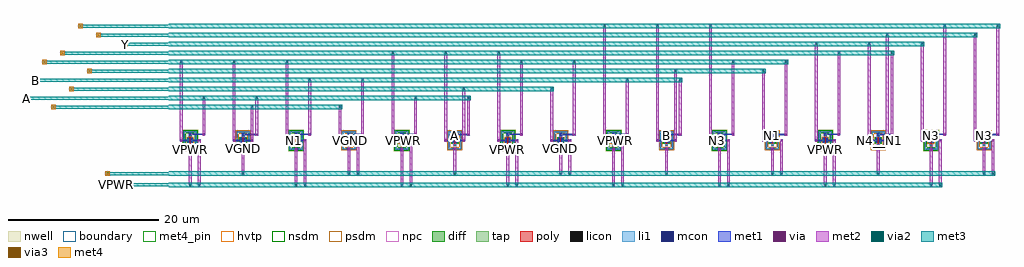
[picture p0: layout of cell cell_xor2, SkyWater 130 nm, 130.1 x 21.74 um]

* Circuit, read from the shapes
.subckt cell_xor2 A B N1 N1__N1 N2 N2__N1 N3 N3__N1 N4__N1 VGND VPWR Y
XM1 N1__N1 A N1 VGND sky130_fd_pr__nfet_01v8 w=0.65 l=0.15
XM2 VGND B N1__N1 VGND sky130_fd_pr__nfet_01v8 w=0.65 l=0.15
XM3 N2__N1 A N2 VGND sky130_fd_pr__nfet_01v8 w=0.65 l=0.15
XM4 VGND N1 N2__N1 VGND sky130_fd_pr__nfet_01v8 w=0.65 l=0.15
XM5 N3__N1 B N3 VGND sky130_fd_pr__nfet_01v8 w=0.65 l=0.15
XM6 VGND N1 N3__N1 VGND sky130_fd_pr__nfet_01v8 w=0.65 l=0.15
XM7 N4__N1 N2 Y VGND sky130_fd_pr__nfet_01v8 w=0.65 l=0.15
XM8 VGND N3 N4__N1 VGND sky130_fd_pr__nfet_01v8 w=0.65 l=0.15
XM9 VPWR A N1 VPWR sky130_fd_pr__pfet_01v8_hvt w=0.65 l=0.15
XM10 VPWR B N1 VPWR sky130_fd_pr__pfet_01v8_hvt w=0.65 l=0.15
XM11 VPWR A N2 VPWR sky130_fd_pr__pfet_01v8_hvt w=0.65 l=0.15
XM12 VPWR N1 N2 VPWR sky130_fd_pr__pfet_01v8_hvt w=0.65 l=0.15
XM13 VPWR B N3 VPWR sky130_fd_pr__pfet_01v8_hvt w=0.65 l=0.15
XM14 VPWR N1 N3 VPWR sky130_fd_pr__pfet_01v8_hvt w=0.65 l=0.15
XM15 VPWR N2 Y VPWR sky130_fd_pr__pfet_01v8_hvt w=0.65 l=0.15
XM16 VPWR N3 Y VPWR sky130_fd_pr__pfet_01v8_hvt w=0.65 l=0.15
.ends

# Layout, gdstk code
import gdstk
lib = gdstk.Library(unit=1e-6, precision=1e-09)
def R(c, l, rs):  # rectangles x0, y0, x1, y1
    for r in rs: c.add(gdstk.rectangle(r[:2], r[2:], *l))
def A(c, l, x, y, w, h, nx, ny, dx, dy):  # array of equal rectangles
    R(c, l, [(x+i*dx, y+j*dy, x+i*dx+w, y+j*dy+h) for i in range(nx) for j in range(ny)])
def P(c, l, *ps):  # polygons
    for p in ps: c.add(gdstk.Polygon(p, *l))
nwell = (64, 20)
diff = (65, 20)
tap = (65, 44)
poly = (66, 20)
licon = (66, 44)
li1 = (67, 20)
mcon = (67, 44)
met1 = (68, 20)
via = (68, 44)
met2 = (69, 20)
via2 = (69, 44)
met3 = (70, 20)
via3 = (70, 44)
met4_pin = (71, 16)
met4 = (71, 20)
hvtp = (78, 44)
nsdm = (93, 44)
psdm = (94, 20)
npc = (95, 20)
boundary = (235, 4)

cell_xor2 = lib.new_cell('cell_xor2')
A(cell_xor2, nwell, 31.4, 14.8, 2.11, 2.84, 8, 1, 14.11, 0)
A(cell_xor2, diff, 32.09, 15.895, 0.73, 0.65, 16, 1, 7.055, 0)
A(cell_xor2, tap, 31.58, 14.98, 1.75, 0.17, 8, 2, 14.11, 2.31)
A(cell_xor2, tap, 38.635, 15.025, 1.75, 0.17, 8, 2, 14.11, 2.22)
R(cell_xor2, tap, [(31.58,15.15,31.75,17.29), (33.16,15.15,33.33,17.29), (45.69,15.15,45.86,17.29), (47.27,15.15,47.44,17.29), (59.8,15.15,59.97,17.29), (61.38,15.15,61.55,17.29), (73.91,15.15,74.08,17.29), (75.49,15.15,75.66,17.29), (88.02,15.15,88.19,17.29), (89.6,15.15,89.77,17.29), (102.13,15.15,102.3,17.29), (103.71,15.15,103.88,17.29), (116.24,15.15,116.41,17.29), (117.82,15.15,117.99,17.29), (130.35,15.15,130.52,17.29), (131.93,15.15,132.1,17.29), (38.635,15.195,38.805,17.245), (40.215,15.195,40.385,17.245), (52.745,15.195,52.915,17.245), (54.325,15.195,54.495,17.245), (66.855,15.195,67.025,17.245), (68.435,15.195,68.605,17.245), (80.965,15.195,81.135,17.245), (82.545,15.195,82.715,17.245), (95.075,15.195,95.245,17.245), (96.655,15.195,96.825,17.245), (109.185,15.195,109.355,17.245), (110.765,15.195,110.935,17.245), (123.295,15.195,123.465,17.245), (124.875,15.195,125.045,17.245), (137.405,15.195,137.575,17.245), (138.985,15.195,139.155,17.245)])
A(cell_xor2, poly, 32.29, 15.41, 0.33, 0.33, 8, 2, 14.11, 1.29)
A(cell_xor2, poly, 39.345, 15.455, 0.33, 0.33, 8, 2, 14.11, 1.2)
A(cell_xor2, poly, 32.38, 15.74, 0.15, 0.96, 8, 1, 14.11, 0)
A(cell_xor2, poly, 39.435, 15.785, 0.15, 0.87, 8, 1, 14.11, 0)
A(cell_xor2, licon, 32.37, 15.49, 0.17, 0.17, 8, 2, 14.11, 1.29)
A(cell_xor2, licon, 39.425, 15.535, 0.17, 0.17, 8, 2, 14.11, 1.2)
A(cell_xor2, licon, 31.58, 15.625, 0.17, 0.17, 1, 4, 0, 0.34)
A(cell_xor2, licon, 33.16, 15.625, 0.17, 0.17, 1, 4, 0, 0.34)
A(cell_xor2, licon, 38.635, 15.625, 0.17, 0.17, 1, 4, 0, 0.34)
A(cell_xor2, licon, 40.215, 15.625, 0.17, 0.17, 1, 4, 0, 0.34)
A(cell_xor2, licon, 45.69, 15.625, 0.17, 0.17, 1, 4, 0, 0.34)
A(cell_xor2, licon, 47.27, 15.625, 0.17, 0.17, 1, 4, 0, 0.34)
A(cell_xor2, licon, 52.745, 15.625, 0.17, 0.17, 1, 4, 0, 0.34)
A(cell_xor2, licon, 54.325, 15.625, 0.17, 0.17, 1, 4, 0, 0.34)
A(cell_xor2, licon, 59.8, 15.625, 0.17, 0.17, 1, 4, 0, 0.34)
A(cell_xor2, licon, 61.38, 15.625, 0.17, 0.17, 1, 4, 0, 0.34)
A(cell_xor2, licon, 66.855, 15.625, 0.17, 0.17, 1, 4, 0, 0.34)
A(cell_xor2, licon, 68.435, 15.625, 0.17, 0.17, 1, 4, 0, 0.34)
A(cell_xor2, licon, 73.91, 15.625, 0.17, 0.17, 1, 4, 0, 0.34)
A(cell_xor2, licon, 75.49, 15.625, 0.17, 0.17, 1, 4, 0, 0.34)
A(cell_xor2, licon, 80.965, 15.625, 0.17, 0.17, 1, 4, 0, 0.34)
A(cell_xor2, licon, 82.545, 15.625, 0.17, 0.17, 1, 4, 0, 0.34)
A(cell_xor2, licon, 88.02, 15.625, 0.17, 0.17, 1, 4, 0, 0.34)
A(cell_xor2, licon, 89.6, 15.625, 0.17, 0.17, 1, 4, 0, 0.34)
A(cell_xor2, licon, 95.075, 15.625, 0.17, 0.17, 1, 4, 0, 0.34)
A(cell_xor2, licon, 96.655, 15.625, 0.17, 0.17, 1, 4, 0, 0.34)
A(cell_xor2, licon, 102.13, 15.625, 0.17, 0.17, 1, 4, 0, 0.34)
A(cell_xor2, licon, 103.71, 15.625, 0.17, 0.17, 1, 4, 0, 0.34)
A(cell_xor2, licon, 109.185, 15.625, 0.17, 0.17, 1, 4, 0, 0.34)
A(cell_xor2, licon, 110.765, 15.625, 0.17, 0.17, 1, 4, 0, 0.34)
A(cell_xor2, licon, 116.24, 15.625, 0.17, 0.17, 1, 4, 0, 0.34)
A(cell_xor2, licon, 117.82, 15.625, 0.17, 0.17, 1, 4, 0, 0.34)
A(cell_xor2, licon, 123.295, 15.625, 0.17, 0.17, 1, 4, 0, 0.34)
A(cell_xor2, licon, 124.875, 15.625, 0.17, 0.17, 1, 4, 0, 0.34)
A(cell_xor2, licon, 130.35, 15.625, 0.17, 0.17, 1, 4, 0, 0.34)
A(cell_xor2, licon, 131.93, 15.625, 0.17, 0.17, 1, 4, 0, 0.34)
A(cell_xor2, licon, 137.405, 15.625, 0.17, 0.17, 1, 4, 0, 0.34)
A(cell_xor2, licon, 138.985, 15.625, 0.17, 0.17, 1, 4, 0, 0.34)
R(cell_xor2, licon, [(32.2,14.98,32.37,15.15), (32.54,14.98,32.71,15.15), (46.31,14.98,46.48,15.15), (46.65,14.98,46.82,15.15), (60.42,14.98,60.59,15.15), (60.76,14.98,60.93,15.15), (74.53,14.98,74.7,15.15), (74.87,14.98,75.04,15.15), (88.64,14.98,88.81,15.15), (88.98,14.98,89.15,15.15), (102.75,14.98,102.92,15.15), (103.09,14.98,103.26,15.15), (116.86,14.98,117.03,15.15), (117.2,14.98,117.37,15.15), (130.97,14.98,131.14,15.15), (131.31,14.98,131.48,15.15), (39.255,15.025,39.425,15.195), (39.595,15.025,39.765,15.195), (53.365,15.025,53.535,15.195), (53.705,15.025,53.875,15.195), (67.475,15.025,67.645,15.195), (67.815,15.025,67.985,15.195), (81.585,15.025,81.755,15.195), (81.925,15.025,82.095,15.195), (95.695,15.025,95.865,15.195), (96.035,15.025,96.205,15.195), (109.805,15.025,109.975,15.195), (110.145,15.025,110.315,15.195), (123.915,15.025,124.085,15.195), (124.255,15.025,124.425,15.195), (138.025,15.025,138.195,15.195), (138.365,15.025,138.535,15.195), (32.15,15.965,32.32,16.135), (32.59,15.965,32.76,16.135), (39.205,15.965,39.375,16.135), (39.645,15.965,39.815,16.135), (46.26,15.965,46.43,16.135), (46.7,15.965,46.87,16.135), (53.315,15.965,53.485,16.135), (53.755,15.965,53.925,16.135), (60.37,15.965,60.54,16.135), (60.81,15.965,60.98,16.135), (67.425,15.965,67.595,16.135), (67.865,15.965,68.035,16.135), (74.48,15.965,74.65,16.135), (74.92,15.965,75.09,16.135), (81.535,15.965,81.705,16.135), (81.975,15.965,82.145,16.135), (88.59,15.965,88.76,16.135), (89.03,15.965,89.2,16.135), (95.645,15.965,95.815,16.135), (96.085,15.965,96.255,16.135), (102.7,15.965,102.87,16.135), (103.14,15.965,103.31,16.135), (109.755,15.965,109.925,16.135), (110.195,15.965,110.365,16.135), (116.81,15.965,116.98,16.135), (117.25,15.965,117.42,16.135), (123.865,15.965,124.035,16.135), (124.305,15.965,124.475,16.135), (130.92,15.965,131.09,16.135), (131.36,15.965,131.53,16.135), (137.975,15.965,138.145,16.135), (138.415,15.965,138.585,16.135), (32.15,16.305,32.32,16.475), (32.59,16.305,32.76,16.475), (39.205,16.305,39.375,16.475), (39.645,16.305,39.815,16.475), (46.26,16.305,46.43,16.475), (46.7,16.305,46.87,16.475), (53.315,16.305,53.485,16.475), (53.755,16.305,53.925,16.475), (60.37,16.305,60.54,16.475), (60.81,16.305,60.98,16.475), (67.425,16.305,67.595,16.475), (67.865,16.305,68.035,16.475), (74.48,16.305,74.65,16.475), (74.92,16.305,75.09,16.475), (81.535,16.305,81.705,16.475), (81.975,16.305,82.145,16.475), (88.59,16.305,88.76,16.475), (89.03,16.305,89.2,16.475), (95.645,16.305,95.815,16.475), (96.085,16.305,96.255,16.475), (102.7,16.305,102.87,16.475), (103.14,16.305,103.31,16.475), (109.755,16.305,109.925,16.475), (110.195,16.305,110.365,16.475), (116.81,16.305,116.98,16.475), (117.25,16.305,117.42,16.475), (123.865,16.305,124.035,16.475), (124.305,16.305,124.475,16.475), (130.92,16.305,131.09,16.475), (131.36,16.305,131.53,16.475), (137.975,16.305,138.145,16.475), (138.415,16.305,138.585,16.475), (39.255,17.245,39.425,17.415), (39.595,17.245,39.765,17.415), (53.365,17.245,53.535,17.415), (53.705,17.245,53.875,17.415), (67.475,17.245,67.645,17.415), (67.815,17.245,67.985,17.415), (81.585,17.245,81.755,17.415), (81.925,17.245,82.095,17.415), (95.695,17.245,95.865,17.415), (96.035,17.245,96.205,17.415), (109.805,17.245,109.975,17.415), (110.145,17.245,110.315,17.415), (123.915,17.245,124.085,17.415), (124.255,17.245,124.425,17.415), (138.025,17.245,138.195,17.415), (138.365,17.245,138.535,17.415), (32.2,17.29,32.37,17.46), (32.54,17.29,32.71,17.46), (46.31,17.29,46.48,17.46), (46.65,17.29,46.82,17.46), (60.42,17.29,60.59,17.46), (60.76,17.29,60.93,17.46), (74.53,17.29,74.7,17.46), (74.87,17.29,75.04,17.46), (88.64,17.29,88.81,17.46), (88.98,17.29,89.15,17.46), (102.75,17.29,102.92,17.46), (103.09,17.29,103.26,17.46), (116.86,17.29,117.03,17.46), (117.2,17.29,117.37,17.46), (130.97,17.29,131.14,17.46), (131.31,17.29,131.48,17.46)])
A(cell_xor2, li1, 31.58, 14.98, 1.75, 0.17, 8, 2, 14.11, 2.31)
A(cell_xor2, li1, 38.635, 15.025, 1.75, 0.17, 8, 2, 14.11, 2.22)
A(cell_xor2, li1, 32.29, 15.49, 0.33, 0.17, 8, 2, 14.11, 1.29)
A(cell_xor2, li1, 39.345, 15.535, 0.33, 0.17, 8, 2, 14.11, 1.2)
A(cell_xor2, li1, 39.425, 16.735, 0.17, 0.34, 8, 1, 14.11, 0)
A(cell_xor2, li1, 32.37, 16.78, 0.17, 0.34, 8, 1, 14.11, 0)
R(cell_xor2, li1, [(31.58,15.15,31.75,17.29), (33.16,15.15,33.33,17.29), (45.69,15.15,45.86,17.29), (47.27,15.15,47.44,17.29), (59.8,15.15,59.97,17.29), (61.38,15.15,61.55,17.29), (73.91,15.15,74.08,17.29), (75.49,15.15,75.66,17.29), (88.02,15.15,88.19,17.29), (89.6,15.15,89.77,17.29), (102.13,15.15,102.3,17.29), (103.71,15.15,103.88,17.29), (116.24,15.15,116.41,17.29), (117.82,15.15,117.99,17.29), (130.35,15.15,130.52,17.29), (131.93,15.15,132.1,17.29), (38.635,15.195,38.805,17.245), (40.215,15.195,40.385,17.245), (52.745,15.195,52.915,17.245), (54.325,15.195,54.495,17.245), (66.855,15.195,67.025,17.245), (68.435,15.195,68.605,17.245), (80.965,15.195,81.135,17.245), (82.545,15.195,82.715,17.245), (95.075,15.195,95.245,17.245), (96.655,15.195,96.825,17.245), (109.185,15.195,109.355,17.245), (110.765,15.195,110.935,17.245), (123.295,15.195,123.465,17.245), (124.875,15.195,125.045,17.245), (137.405,15.195,137.575,17.245), (138.985,15.195,139.155,17.245), (32.15,15.875,32.32,16.565), (32.59,15.875,32.76,16.565), (39.205,15.875,39.375,16.565), (39.645,15.875,39.815,16.565), (46.26,15.875,46.43,16.565), (46.7,15.875,46.87,16.565), (53.315,15.875,53.485,16.565), (53.755,15.875,53.925,16.565), (60.37,15.875,60.54,16.565), (60.81,15.875,60.98,16.565), (67.425,15.875,67.595,16.565), (67.865,15.875,68.035,16.565), (74.48,15.875,74.65,16.565), (74.92,15.875,75.09,16.565), (81.535,15.875,81.705,16.565), (81.975,15.875,82.145,16.565), (88.59,15.875,88.76,16.565), (89.03,15.875,89.2,16.565), (95.645,15.875,95.815,16.565), (96.085,15.875,96.255,16.565), (102.7,15.875,102.87,16.565), (103.14,15.875,103.31,16.565), (109.755,15.875,109.925,16.565), (110.195,15.875,110.365,16.565), (116.81,15.875,116.98,16.565), (117.25,15.875,117.42,16.565), (123.865,15.875,124.035,16.565), (124.305,15.875,124.475,16.565), (130.92,15.875,131.09,16.565), (131.36,15.875,131.53,16.565), (137.975,15.875,138.145,16.565), (138.415,15.875,138.585,16.565)])
A(cell_xor2, mcon, 32.37, 14.98, 0.17, 0.17, 8, 2, 14.11, 1.97)
A(cell_xor2, mcon, 39.425, 15.025, 0.17, 0.17, 8, 2, 14.11, 1.88)
R(cell_xor2, mcon, [(32.15,15.955,32.32,16.125), (32.59,15.955,32.76,16.125), (39.205,15.955,39.375,16.125), (39.645,15.955,39.815,16.125), (46.26,15.955,46.43,16.125), (46.7,15.955,46.87,16.125), (53.315,15.955,53.485,16.125), (53.755,15.955,53.925,16.125), (60.37,15.955,60.54,16.125), (60.81,15.955,60.98,16.125), (67.425,15.955,67.595,16.125), (67.865,15.955,68.035,16.125), (74.48,15.955,74.65,16.125), (74.92,15.955,75.09,16.125), (81.535,15.955,81.705,16.125), (81.975,15.955,82.145,16.125), (88.59,15.955,88.76,16.125), (89.03,15.955,89.2,16.125), (95.645,15.955,95.815,16.125), (96.085,15.955,96.255,16.125), (102.7,15.955,102.87,16.125), (103.14,15.955,103.31,16.125), (109.755,15.955,109.925,16.125), (110.195,15.955,110.365,16.125), (116.81,15.955,116.98,16.125), (117.25,15.955,117.42,16.125), (123.865,15.955,124.035,16.125), (124.305,15.955,124.475,16.125), (130.92,15.955,131.09,16.125), (131.36,15.955,131.53,16.125), (137.975,15.955,138.145,16.125), (138.415,15.955,138.585,16.125), (32.15,16.315,32.32,16.485), (32.59,16.315,32.76,16.485), (39.205,16.315,39.375,16.485), (39.645,16.315,39.815,16.485), (46.26,16.315,46.43,16.485), (46.7,16.315,46.87,16.485), (53.315,16.315,53.485,16.485), (53.755,16.315,53.925,16.485), (60.37,16.315,60.54,16.485), (60.81,16.315,60.98,16.485), (67.425,16.315,67.595,16.485), (67.865,16.315,68.035,16.485), (74.48,16.315,74.65,16.485), (74.92,16.315,75.09,16.485), (81.535,16.315,81.705,16.485), (81.975,16.315,82.145,16.485), (88.59,16.315,88.76,16.485), (89.03,16.315,89.2,16.485), (95.645,16.315,95.815,16.485), (96.085,16.315,96.255,16.485), (102.7,16.315,102.87,16.485), (103.14,16.315,103.31,16.485), (109.755,16.315,109.925,16.485), (110.195,16.315,110.365,16.485), (116.81,16.315,116.98,16.485), (117.25,16.315,117.42,16.485), (123.865,16.315,124.035,16.485), (124.305,16.315,124.475,16.485), (130.92,16.315,131.09,16.485), (131.36,16.315,131.53,16.485), (137.975,16.315,138.145,16.485), (138.415,16.315,138.585,16.485)])
A(cell_xor2, met1, 32.255, 14.865, 0.4, 0.4, 8, 2, 14.11, 1.97)
A(cell_xor2, met1, 39.31, 14.91, 0.4, 0.4, 8, 2, 14.11, 1.88)
A(cell_xor2, met1, 32.275, 14.935, 0.36, 0.26, 8, 1, 14.11, 0)
A(cell_xor2, met1, 39.33, 14.98, 0.36, 0.26, 8, 1, 14.11, 0)
A(cell_xor2, met1, 41.15, 16.86, 0.36, 0.26, 8, 1, 14.11, 0)
A(cell_xor2, met1, 34.095, 16.905, 0.36, 0.26, 8, 1, 14.11, 0)
A(cell_xor2, met1, 39.51, 16.905, 1.82, 0.17, 8, 1, 14.11, 0)
A(cell_xor2, met1, 32.455, 16.95, 1.82, 0.17, 8, 1, 14.11, 0)
R(cell_xor2, met1, [(32.12,15.895,32.35,16.545), (32.56,15.895,32.79,16.545), (39.175,15.895,39.405,16.545), (39.615,15.895,39.845,16.545), (46.23,15.895,46.46,16.545), (46.67,15.895,46.9,16.545), (53.285,15.895,53.515,16.545), (53.725,15.895,53.955,16.545), (60.34,15.895,60.57,16.545), (60.78,15.895,61.01,16.545), (67.395,15.895,67.625,16.545), (67.835,15.895,68.065,16.545), (74.45,15.895,74.68,16.545), (74.89,15.895,75.12,16.545), (81.505,15.895,81.735,16.545), (81.945,15.895,82.175,16.545), (88.56,15.895,88.79,16.545), (89,15.895,89.23,16.545), (95.615,15.895,95.845,16.545), (96.055,15.895,96.285,16.545), (102.67,15.895,102.9,16.545), (103.11,15.895,103.34,16.545), (109.725,15.895,109.955,16.545), (110.165,15.895,110.395,16.545), (116.78,15.895,117.01,16.545), (117.22,15.895,117.45,16.545), (123.835,15.895,124.065,16.545), (124.275,15.895,124.505,16.545), (130.89,15.895,131.12,16.545), (131.33,15.895,131.56,16.545), (137.945,15.895,138.175,16.545), (138.385,15.895,138.615,16.545), (31.075,16.09,31.435,16.35), (33.475,16.09,33.835,16.35), (38.13,16.09,38.49,16.35), (40.53,16.09,40.89,16.35), (45.185,16.09,45.545,16.35), (47.585,16.09,47.945,16.35), (52.24,16.09,52.6,16.35), (54.64,16.09,55,16.35), (59.295,16.09,59.655,16.35), (61.695,16.09,62.055,16.35), (66.35,16.09,66.71,16.35), (68.75,16.09,69.11,16.35), (73.405,16.09,73.765,16.35), (75.805,16.09,76.165,16.35), (80.46,16.09,80.82,16.35), (82.86,16.09,83.22,16.35), (87.515,16.09,87.875,16.35), (89.915,16.09,90.275,16.35), (94.57,16.09,94.93,16.35), (96.97,16.09,97.33,16.35), (101.625,16.09,101.985,16.35), (104.025,16.09,104.385,16.35), (108.68,16.09,109.04,16.35), (111.08,16.09,111.44,16.35), (115.735,16.09,116.095,16.35), (118.135,16.09,118.495,16.35), (122.79,16.09,123.15,16.35), (125.19,16.09,125.55,16.35), (129.845,16.09,130.205,16.35), (132.245,16.09,132.605,16.35), (136.9,16.09,137.26,16.35), (139.3,16.09,139.66,16.35), (31.255,16.135,32.235,16.305), (32.675,16.135,33.655,16.305), (38.31,16.135,39.29,16.305), (39.73,16.135,40.71,16.305), (45.365,16.135,46.345,16.305), (46.785,16.135,47.765,16.305), (52.42,16.135,53.4,16.305), (53.84,16.135,54.82,16.305), (59.475,16.135,60.455,16.305), (60.895,16.135,61.875,16.305), (66.53,16.135,67.51,16.305), (67.95,16.135,68.93,16.305), (73.585,16.135,74.565,16.305), (75.005,16.135,75.985,16.305), (80.64,16.135,81.62,16.305), (82.06,16.135,83.04,16.305), (87.695,16.135,88.675,16.305), (89.115,16.135,90.095,16.305), (94.75,16.135,95.73,16.305), (96.17,16.135,97.15,16.305), (101.805,16.135,102.785,16.305), (103.225,16.135,104.205,16.305), (108.86,16.135,109.84,16.305), (110.28,16.135,111.26,16.305), (115.915,16.135,116.895,16.305), (117.335,16.135,118.315,16.305), (122.97,16.135,123.95,16.305), (124.39,16.135,125.37,16.305), (130.025,16.135,131.005,16.305), (131.445,16.135,132.425,16.305), (137.08,16.135,138.06,16.305), (138.5,16.135,139.48,16.305)])
P(cell_xor2, met1, [(124.17,15.025),(124.17,15.195),(124.17,15.195),(124.17,15.025)],
  [(88.895,14.98),(88.895,15.15),(88.895,15.15),(88.895,14.98)],
  [(95.95,15.025),(95.95,15.195),(95.95,15.195),(95.95,15.025)],
  [(103.005,14.98),(103.005,15.15),(103.005,15.15),(103.005,14.98)],
  [(110.06,15.025),(110.06,15.195),(110.06,15.195),(110.06,15.025)],
  [(117.115,14.98),(117.115,15.15),(117.115,15.15),(117.115,14.98)],
  [(131.225,14.98),(131.225,15.15),(131.225,15.15),(131.225,14.98)],
  [(138.28,15.025),(138.28,15.195),(138.28,15.195),(138.28,15.025)],
  [(81.84,15.025),(81.84,15.195),(81.84,15.195),(81.84,15.025)],
  [(60.675,14.98),(60.675,15.15),(60.675,15.15),(60.675,14.98)],
  [(67.73,15.025),(67.73,15.195),(67.73,15.195),(67.73,15.025)],
  [(32.455,14.98),(32.455,15.15),(32.455,15.15),(32.455,14.98)],
  [(39.51,15.025),(39.51,15.195),(39.51,15.195),(39.51,15.025)],
  [(46.565,14.98),(46.565,15.15),(46.565,15.15),(46.565,14.98)],
  [(53.62,15.025),(53.62,15.195),(53.62,15.195),(53.62,15.025)],
  [(74.785,14.98),(74.785,15.15),(74.785,15.15),(74.785,14.98)])
A(cell_xor2, via, 32.38, 14.99, 0.15, 0.15, 8, 1, 14.11, 0)
A(cell_xor2, via, 39.435, 15.035, 0.15, 0.15, 8, 1, 14.11, 0)
A(cell_xor2, via, 41.255, 16.915, 0.15, 0.15, 8, 1, 14.11, 0)
A(cell_xor2, via, 34.2, 16.96, 0.15, 0.15, 8, 1, 14.11, 0)
R(cell_xor2, via, [(31.18,16.145,31.33,16.295), (33.58,16.145,33.73,16.295), (38.235,16.145,38.385,16.295), (40.635,16.145,40.785,16.295), (45.29,16.145,45.44,16.295), (47.69,16.145,47.84,16.295), (52.345,16.145,52.495,16.295), (54.745,16.145,54.895,16.295), (59.4,16.145,59.55,16.295), (61.8,16.145,61.95,16.295), (66.455,16.145,66.605,16.295), (68.855,16.145,69.005,16.295), (73.51,16.145,73.66,16.295), (75.91,16.145,76.06,16.295), (80.565,16.145,80.715,16.295), (82.965,16.145,83.115,16.295), (87.62,16.145,87.77,16.295), (90.02,16.145,90.17,16.295), (94.675,16.145,94.825,16.295), (97.075,16.145,97.225,16.295), (101.73,16.145,101.88,16.295), (104.13,16.145,104.28,16.295), (108.785,16.145,108.935,16.295), (111.185,16.145,111.335,16.295), (115.84,16.145,115.99,16.295), (118.24,16.145,118.39,16.295), (122.895,16.145,123.045,16.295), (125.295,16.145,125.445,16.295), (129.95,16.145,130.1,16.295), (132.35,16.145,132.5,16.295), (137.005,16.145,137.155,16.295), (139.405,16.145,139.555,16.295)])
A(cell_xor2, met2, 32.275, 10.3, 0.36, 4.765, 8, 1, 14.11, 0)
A(cell_xor2, met2, 33.475, 10.3, 0.36, 5.92, 8, 1, 14.11, 0)
A(cell_xor2, met2, 39.33, 11.8, 0.36, 3.31, 8, 1, 14.11, 0)
A(cell_xor2, met2, 54.64, 11.8, 0.36, 4.42, 4, 1, 28.22, 0)
A(cell_xor2, met2, 32.325, 14.885, 0.26, 0.36, 8, 1, 14.11, 0)
A(cell_xor2, met2, 39.38, 14.93, 0.26, 0.36, 8, 1, 14.11, 0)
A(cell_xor2, met2, 31.075, 16.22, 0.36, 10.42, 3, 1, 7.055, 0)
A(cell_xor2, met2, 59.295, 16.22, 0.36, 11.62, 3, 1, 7.055, 0)
A(cell_xor2, met2, 87.515, 16.22, 0.36, 15.22, 3, 1, 7.055, 0)
A(cell_xor2, met2, 115.735, 16.22, 0.36, 12.82, 3, 1, 7.055, 0)
A(cell_xor2, met2, 41.2, 16.81, 0.26, 0.36, 8, 1, 14.11, 0)
A(cell_xor2, met2, 34.145, 16.855, 0.26, 0.36, 8, 1, 14.11, 0)
A(cell_xor2, met2, 31.115, 26.45, 0.28, 0.38, 3, 1, 7.055, 0)
A(cell_xor2, met2, 59.335, 27.65, 0.28, 0.38, 3, 1, 7.055, 0)
A(cell_xor2, met2, 115.775, 28.85, 0.28, 0.38, 3, 1, 7.055, 0)
A(cell_xor2, met2, 87.555, 31.25, 0.28, 0.38, 3, 1, 7.055, 0)
R(cell_xor2, met2, [(32.315,10.11,32.595,10.49), (33.515,10.11,33.795,10.49), (46.425,10.11,46.705,10.49), (47.625,10.11,47.905,10.49), (60.535,10.11,60.815,10.49), (61.735,10.11,62.015,10.49), (74.645,10.11,74.925,10.49), (75.845,10.11,76.125,10.49), (88.755,10.11,89.035,10.49), (89.955,10.11,90.235,10.49), (102.865,10.11,103.145,10.49), (104.065,10.11,104.345,10.49), (116.975,10.11,117.255,10.49), (118.175,10.11,118.455,10.49), (131.085,10.11,131.365,10.49), (132.285,10.11,132.565,10.49), (39.37,11.61,39.65,11.99), (53.48,11.61,53.76,11.99), (54.68,11.61,54.96,11.99), (67.59,11.61,67.87,11.99), (81.7,11.61,81.98,11.99), (82.9,11.61,83.18,11.99), (95.81,11.61,96.09,11.99), (109.92,11.61,110.2,11.99), (111.12,11.61,111.4,11.99), (124.03,11.61,124.31,11.99), (138.14,11.61,138.42,11.99), (139.34,11.61,139.62,11.99), (31.125,16.04,31.385,16.4), (33.525,16.04,33.785,16.4), (38.18,16.04,38.44,16.4), (40.58,16.04,40.84,16.4), (45.235,16.04,45.495,16.4), (47.635,16.04,47.895,16.4), (52.29,16.04,52.55,16.4), (54.69,16.04,54.95,16.4), (59.345,16.04,59.605,16.4), (61.745,16.04,62.005,16.4), (66.4,16.04,66.66,16.4), (68.8,16.04,69.06,16.4), (73.455,16.04,73.715,16.4), (75.855,16.04,76.115,16.4), (80.51,16.04,80.77,16.4), (82.91,16.04,83.17,16.4), (87.565,16.04,87.825,16.4), (89.965,16.04,90.225,16.4), (94.62,16.04,94.88,16.4), (97.02,16.04,97.28,16.4), (101.675,16.04,101.935,16.4), (104.075,16.04,104.335,16.4), (108.73,16.04,108.99,16.4), (111.13,16.04,111.39,16.4), (115.785,16.04,116.045,16.4), (118.185,16.04,118.445,16.4), (122.84,16.04,123.1,16.4), (125.24,16.04,125.5,16.4), (129.895,16.04,130.155,16.4), (132.295,16.04,132.555,16.4), (136.95,16.04,137.21,16.4), (139.35,16.04,139.61,16.4), (40.53,16.22,40.89,20.64), (52.24,16.22,52.6,20.64), (68.75,16.22,69.11,23.04), (80.46,16.22,80.82,23.04), (96.97,16.22,97.33,25.44), (108.68,16.22,109.04,25.44), (125.19,16.22,125.55,30.24), (136.9,16.22,137.26,30.24), (41.15,16.99,41.51,21.84), (55.26,16.99,55.62,24.24), (69.37,16.99,69.73,21.84), (83.48,16.99,83.84,26.64), (97.59,16.99,97.95,24.24), (111.7,16.99,112.06,26.64), (125.81,16.99,126.17,27.84), (139.92,16.99,140.28,31.44), (34.095,17.035,34.455,21.84), (48.205,17.035,48.565,24.24), (62.315,17.035,62.675,21.84), (76.425,17.035,76.785,26.64), (90.535,17.035,90.895,24.24), (104.645,17.035,105.005,26.64), (118.755,17.035,119.115,27.84), (132.865,17.035,133.225,31.44), (40.57,20.45,40.85,20.83), (52.28,20.45,52.56,20.83), (34.135,21.65,34.415,22.03), (41.19,21.65,41.47,22.03), (62.355,21.65,62.635,22.03), (69.41,21.65,69.69,22.03), (68.79,22.85,69.07,23.23), (80.5,22.85,80.78,23.23), (48.245,24.05,48.525,24.43), (55.3,24.05,55.58,24.43), (90.575,24.05,90.855,24.43), (97.63,24.05,97.91,24.43), (97.01,25.25,97.29,25.63), (108.72,25.25,109,25.63), (76.465,26.45,76.745,26.83), (83.52,26.45,83.8,26.83), (104.685,26.45,104.965,26.83), (111.74,26.45,112.02,26.83), (118.795,27.65,119.075,28.03), (125.85,27.65,126.13,28.03), (125.23,30.05,125.51,30.43), (136.94,30.05,137.22,30.43), (132.905,31.25,133.185,31.63), (139.96,31.25,140.24,31.63)])
A(cell_xor2, via2, 31.155, 26.54, 0.2, 0.2, 3, 1, 7.055, 0)
A(cell_xor2, via2, 59.375, 27.74, 0.2, 0.2, 3, 1, 7.055, 0)
A(cell_xor2, via2, 115.815, 28.94, 0.2, 0.2, 3, 1, 7.055, 0)
A(cell_xor2, via2, 87.595, 31.34, 0.2, 0.2, 3, 1, 7.055, 0)
R(cell_xor2, via2, [(32.355,10.2,32.555,10.4), (33.555,10.2,33.755,10.4), (46.465,10.2,46.665,10.4), (47.665,10.2,47.865,10.4), (60.575,10.2,60.775,10.4), (61.775,10.2,61.975,10.4), (74.685,10.2,74.885,10.4), (75.885,10.2,76.085,10.4), (88.795,10.2,88.995,10.4), (89.995,10.2,90.195,10.4), (102.905,10.2,103.105,10.4), (104.105,10.2,104.305,10.4), (117.015,10.2,117.215,10.4), (118.215,10.2,118.415,10.4), (131.125,10.2,131.325,10.4), (132.325,10.2,132.525,10.4), (39.41,11.7,39.61,11.9), (53.52,11.7,53.72,11.9), (54.72,11.7,54.92,11.9), (67.63,11.7,67.83,11.9), (81.74,11.7,81.94,11.9), (82.94,11.7,83.14,11.9), (95.85,11.7,96.05,11.9), (109.96,11.7,110.16,11.9), (111.16,11.7,111.36,11.9), (124.07,11.7,124.27,11.9), (138.18,11.7,138.38,11.9), (139.38,11.7,139.58,11.9), (40.61,20.54,40.81,20.74), (52.32,20.54,52.52,20.74), (34.175,21.74,34.375,21.94), (41.23,21.74,41.43,21.94), (62.395,21.74,62.595,21.94), (69.45,21.74,69.65,21.94), (68.83,22.94,69.03,23.14), (80.54,22.94,80.74,23.14), (48.285,24.14,48.485,24.34), (55.34,24.14,55.54,24.34), (90.615,24.14,90.815,24.34), (97.67,24.14,97.87,24.34), (97.05,25.34,97.25,25.54), (108.76,25.34,108.96,25.54), (76.505,26.54,76.705,26.74), (83.56,26.54,83.76,26.74), (104.725,26.54,104.925,26.74), (111.78,26.54,111.98,26.74), (118.835,27.74,119.035,27.94), (125.89,27.74,126.09,27.94), (125.27,30.14,125.47,30.34), (136.98,30.14,137.18,30.34), (132.945,31.34,133.145,31.54), (140,31.34,140.2,31.54)])
A(cell_xor2, met3, 31.005, 26.39, 0.5, 0.5, 3, 1, 7.055, 0)
A(cell_xor2, met3, 59.225, 27.59, 0.5, 0.5, 3, 1, 7.055, 0)
A(cell_xor2, met3, 115.665, 28.79, 0.5, 0.5, 3, 1, 7.055, 0)
A(cell_xor2, met3, 87.445, 31.19, 0.5, 0.5, 3, 1, 7.055, 0)
R(cell_xor2, met3, [(22.3,10,22.9,10.6), (29.6,10,132.725,10.6), (32.205,10.05,32.705,10.55), (33.405,10.05,33.905,10.55), (46.315,10.05,46.815,10.55), (47.515,10.05,48.015,10.55), (60.425,10.05,60.925,10.55), (61.625,10.05,62.125,10.55), (74.535,10.05,75.035,10.55), (75.735,10.05,76.235,10.55), (88.645,10.05,89.145,10.55), (89.845,10.05,90.345,10.55), (102.755,10.05,103.255,10.55), (103.955,10.05,104.455,10.55), (116.865,10.05,117.365,10.55), (118.065,10.05,118.565,10.55), (130.975,10.05,131.475,10.55), (132.175,10.05,132.675,10.55), (21.1,11.5,21.7,12.1), (29.6,11.5,139.78,12.1), (39.26,11.55,39.76,12.05), (53.37,11.55,53.87,12.05), (54.57,11.55,55.07,12.05), (67.48,11.55,67.98,12.05), (81.59,11.55,82.09,12.05), (82.79,11.55,83.29,12.05), (95.7,11.55,96.2,12.05), (109.81,11.55,110.31,12.05), (111.01,11.55,111.51,12.05), (123.92,11.55,124.42,12.05), (138.03,11.55,138.53,12.05), (139.23,11.55,139.73,12.05), (13.9,20.34,14.5,20.94), (29.6,20.34,52.72,20.94), (40.46,20.39,40.96,20.89), (52.17,20.39,52.67,20.89), (10.3,21.54,10.9,22.14), (29.6,21.54,69.85,22.14), (34.025,21.59,34.525,22.09), (41.08,21.59,41.58,22.09), (62.245,21.59,62.745,22.09), (69.3,21.59,69.8,22.09), (16.3,22.74,16.9,23.34), (29.6,22.74,80.94,23.34), (68.68,22.79,69.18,23.29), (80.39,22.79,80.89,23.29), (11.5,23.94,12.1,24.54), (29.6,23.94,98.07,24.54), (48.135,23.99,48.635,24.49), (55.19,23.99,55.69,24.49), (90.465,23.99,90.965,24.49), (97.52,23.99,98.02,24.49), (18.7,25.14,19.3,25.74), (29.6,25.14,109.16,25.74), (96.9,25.19,97.4,25.69), (108.61,25.19,109.11,25.69), (12.7,26.34,13.3,26.94), (29.6,26.34,112.18,26.94), (76.355,26.39,76.855,26.89), (83.41,26.39,83.91,26.89), (104.575,26.39,105.075,26.89), (111.63,26.39,112.13,26.89), (15.1,27.54,15.7,28.14), (29.6,27.54,126.29,28.14), (118.685,27.59,119.185,28.09), (125.74,27.59,126.24,28.09), (23.5,28.74,24.1,29.34), (29.6,28.74,130.325,29.34), (19.9,29.94,20.5,30.54), (29.6,29.94,137.38,30.54), (125.12,29.99,125.62,30.49), (136.83,29.99,137.33,30.49), (17.5,31.14,18.1,31.74), (29.6,31.14,140.4,31.74), (132.795,31.19,133.295,31.69), (139.85,31.19,140.35,31.69)])
R(cell_xor2, via3, [(22.5,10.2,22.7,10.4), (21.3,11.7,21.5,11.9), (14.1,20.54,14.3,20.74), (10.5,21.74,10.7,21.94), (16.5,22.94,16.7,23.14), (11.7,24.14,11.9,24.34), (18.9,25.34,19.1,25.54), (12.9,26.54,13.1,26.74), (15.3,27.74,15.5,27.94), (23.7,28.94,23.9,29.14), (20.1,30.14,20.3,30.34), (17.7,31.34,17.9,31.54)])
R(cell_xor2, met4_pin, [(22.35,10.05,22.85,10.55), (21.15,11.55,21.65,12.05), (10.35,21.59,10.85,22.09), (11.55,23.99,12.05,24.49), (23.55,28.79,24.05,29.29)])
R(cell_xor2, met4, [(22.3,10,22.9,10.6), (22.35,10,22.85,10.6), (21.1,11.5,21.7,12.1), (21.15,11.5,21.65,12.1), (13.9,20.34,14.5,20.94), (13.95,20.34,14.45,20.94), (10.3,21.54,10.9,22.14), (10.35,21.54,10.85,22.14), (16.3,22.74,16.9,23.34), (16.35,22.74,16.85,23.34), (11.5,23.94,12.1,24.54), (11.55,23.94,12.05,24.54), (18.7,25.14,19.3,25.74), (18.75,25.14,19.25,25.74), (12.7,26.34,13.3,26.94), (12.75,26.34,13.25,26.94), (15.1,27.54,15.7,28.14), (15.15,27.54,15.65,28.14), (23.5,28.74,24.1,29.34), (23.55,28.74,24.05,29.34), (19.9,29.94,20.5,30.54), (19.95,29.94,20.45,30.54), (17.5,31.14,18.1,31.74), (17.55,31.14,18.05,31.74)])
A(cell_xor2, hvtp, 32.2, 15.715, 0.51, 1.01, 8, 1, 14.11, 0)
A(cell_xor2, nsdm, 31.455, 14.855, 2, 0.42, 8, 2, 14.11, 2.31)
A(cell_xor2, nsdm, 39.02, 15.77, 0.98, 0.9, 8, 1, 14.11, 0)
R(cell_xor2, nsdm, [(31.455,15.275,31.875,17.165), (33.035,15.275,33.455,17.165), (45.565,15.275,45.985,17.165), (47.145,15.275,47.565,17.165), (59.675,15.275,60.095,17.165), (61.255,15.275,61.675,17.165), (73.785,15.275,74.205,17.165), (75.365,15.275,75.785,17.165), (87.895,15.275,88.315,17.165), (89.475,15.275,89.895,17.165), (102.005,15.275,102.425,17.165), (103.585,15.275,104.005,17.165), (116.115,15.275,116.535,17.165), (117.695,15.275,118.115,17.165), (130.225,15.275,130.645,17.165), (131.805,15.275,132.225,17.165)])
A(cell_xor2, psdm, 38.51, 14.9, 2, 0.42, 8, 2, 14.11, 2.22)
A(cell_xor2, psdm, 31.965, 15.77, 0.98, 0.9, 8, 1, 14.11, 0)
R(cell_xor2, psdm, [(38.51,15.32,38.93,17.12), (40.09,15.32,40.51,17.12), (52.62,15.32,53.04,17.12), (54.2,15.32,54.62,17.12), (66.73,15.32,67.15,17.12), (68.31,15.32,68.73,17.12), (80.84,15.32,81.26,17.12), (82.42,15.32,82.84,17.12), (94.95,15.32,95.37,17.12), (96.53,15.32,96.95,17.12), (109.06,15.32,109.48,17.12), (110.64,15.32,111.06,17.12), (123.17,15.32,123.59,17.12), (124.75,15.32,125.17,17.12), (137.28,15.32,137.7,17.12), (138.86,15.32,139.28,17.12)])
A(cell_xor2, npc, 32.27, 15.39, 0.37, 0.37, 8, 2, 14.11, 1.29)
A(cell_xor2, npc, 39.325, 15.435, 0.37, 0.37, 8, 2, 14.11, 1.2)
A(cell_xor2, boundary, 31.665, 15.065, 1.58, 2.31, 8, 1, 14.11, 0)
A(cell_xor2, boundary, 38.72, 15.11, 1.58, 2.22, 8, 1, 14.11, 0)
cell_xor2.add(gdstk.FlexPath([(23.8,29.04),(29.6,29.04)], 0.4, ends="flush", simple_path=True, layer=70, datatype=20))  # met3
cell_xor2.add(gdstk.FlexPath([(22.6,10.3),(29.6,10.3)], 0.4, ends="flush", simple_path=True, layer=70, datatype=20))  # met3
cell_xor2.add(gdstk.FlexPath([(21.4,11.8),(29.6,11.8)], 0.4, ends="flush", simple_path=True, layer=70, datatype=20))  # met3
cell_xor2.add(gdstk.FlexPath([(20.2,30.24),(29.6,30.24)], 0.4, ends="flush", simple_path=True, layer=70, datatype=20))  # met3
cell_xor2.add(gdstk.FlexPath([(17.8,31.44),(29.6,31.44)], 0.4, ends="flush", simple_path=True, layer=70, datatype=20))  # met3
cell_xor2.add(gdstk.FlexPath([(16.6,23.04),(29.6,23.04)], 0.4, ends="flush", simple_path=True, layer=70, datatype=20))  # met3
cell_xor2.add(gdstk.FlexPath([(19,25.44),(29.6,25.44)], 0.4, ends="flush", simple_path=True, layer=70, datatype=20))  # met3
cell_xor2.add(gdstk.FlexPath([(14.2,20.64),(29.6,20.64)], 0.4, ends="flush", simple_path=True, layer=70, datatype=20))  # met3
cell_xor2.add(gdstk.FlexPath([(13,26.64),(29.6,26.64)], 0.4, ends="flush", simple_path=True, layer=70, datatype=20))  # met3
cell_xor2.add(gdstk.FlexPath([(15.4,27.84),(29.6,27.84)], 0.4, ends="flush", simple_path=True, layer=70, datatype=20))  # met3
cell_xor2.add(gdstk.FlexPath([(11.8,24.24),(29.6,24.24)], 0.4, ends="flush", simple_path=True, layer=70, datatype=20))  # met3
cell_xor2.add(gdstk.FlexPath([(10.6,21.84),(29.6,21.84)], 0.4, ends="flush", simple_path=True, layer=70, datatype=20))  # met3
cell_xor2.add(gdstk.Label('N3', (138.28,16.82), layer=67, texttype=5))
cell_xor2.add(gdstk.Label('VGND', (138.28,15.11), layer=67, texttype=5))
cell_xor2.add(gdstk.Label('N3', (131.225,16.865), layer=67, texttype=5))
cell_xor2.add(gdstk.Label('A', (67.73,16.82), layer=67, texttype=5))
cell_xor2.add(gdstk.Label('N4__N1', (124.39,16.22), layer=67, texttype=5))
cell_xor2.add(gdstk.Label('VGND', (81.84,15.11), layer=67, texttype=5))
cell_xor2.add(gdstk.Label('VPWR', (60.895,16.22), layer=67, texttype=5))
cell_xor2.add(gdstk.Label('VGND', (82.06,16.22), layer=67, texttype=5))
cell_xor2.add(gdstk.Label('N2', (60.455,16.22), layer=67, texttype=5))
cell_xor2.add(gdstk.Label('VGND', (39.51,15.11), layer=67, texttype=5))
cell_xor2.add(gdstk.Label('N2__N1', (67.95,16.22), layer=67, texttype=5))
cell_xor2.add(gdstk.Label('A', (39.51,16.82), layer=67, texttype=5))
cell_xor2.add(gdstk.Label('N3', (102.785,16.22), layer=67, texttype=5))
cell_xor2.add(gdstk.Label('VPWR', (74.785,15.065), layer=67, texttype=5))
cell_xor2.add(gdstk.Label('VPWR', (131.445,16.22), layer=67, texttype=5))
cell_xor2.add(gdstk.Label('VGND', (53.84,16.22), layer=67, texttype=5))
cell_xor2.add(gdstk.Label('VPWR', (32.455,15.065), layer=67, texttype=5))
cell_xor2.add(gdstk.Label('N1', (32.235,16.22), layer=67, texttype=5))
cell_xor2.add(gdstk.Label('VPWR', (60.675,15.065), layer=67, texttype=5))
cell_xor2.add(gdstk.Label('A', (32.455,16.865), layer=67, texttype=5))
cell_xor2.add(gdstk.Label('N2', (74.565,16.22), layer=67, texttype=5))
cell_xor2.add(gdstk.Label('N1', (39.29,16.22), layer=67, texttype=5))
cell_xor2.add(gdstk.Label('N1__N1', (39.73,16.22), layer=67, texttype=5))
cell_xor2.add(gdstk.Label('VPWR', (89.115,16.22), layer=67, texttype=5))
cell_xor2.add(gdstk.Label('A', (60.675,16.865), layer=67, texttype=5))
cell_xor2.add(gdstk.Label('VGND', (53.62,15.11), layer=67, texttype=5))
cell_xor2.add(gdstk.Label('B', (95.95,16.82), layer=67, texttype=5))
cell_xor2.add(gdstk.Label('N2', (124.17,16.82), layer=67, texttype=5))
cell_xor2.add(gdstk.Label('Y', (123.95,16.22), layer=67, texttype=5))
cell_xor2.add(gdstk.Label('N1', (46.345,16.22), layer=67, texttype=5))
cell_xor2.add(gdstk.Label('N1', (110.06,16.82), layer=67, texttype=5))
cell_xor2.add(gdstk.Label('N4__N1', (138.06,16.22), layer=67, texttype=5))
cell_xor2.add(gdstk.Label('VGND', (67.73,15.11), layer=67, texttype=5))
cell_xor2.add(gdstk.Label('VPWR', (131.225,15.065), layer=67, texttype=5))
cell_xor2.add(gdstk.Label('VGND', (110.28,16.22), layer=67, texttype=5))
cell_xor2.add(gdstk.Label('N2__N1', (81.62,16.22), layer=67, texttype=5))
cell_xor2.add(gdstk.Label('N2', (67.51,16.22), layer=67, texttype=5))
cell_xor2.add(gdstk.Label('B', (46.565,16.865), layer=67, texttype=5))
cell_xor2.add(gdstk.Label('N1', (81.84,16.82), layer=67, texttype=5))
cell_xor2.add(gdstk.Label('VPWR', (75.005,16.22), layer=67, texttype=5))
cell_xor2.add(gdstk.Label('VPWR', (88.895,15.065), layer=67, texttype=5))
cell_xor2.add(gdstk.Label('N1', (74.785,16.865), layer=67, texttype=5))
cell_xor2.add(gdstk.Label('VPWR', (32.675,16.22), layer=67, texttype=5))
cell_xor2.add(gdstk.Label('N3__N1', (96.17,16.22), layer=67, texttype=5))
cell_xor2.add(gdstk.Label('N1', (103.005,16.865), layer=67, texttype=5))
cell_xor2.add(gdstk.Label('N3', (88.675,16.22), layer=67, texttype=5))
cell_xor2.add(gdstk.Label('N3', (95.73,16.22), layer=67, texttype=5))
cell_xor2.add(gdstk.Label('N1__N1', (53.4,16.22), layer=67, texttype=5))
cell_xor2.add(gdstk.Label('B', (53.62,16.82), layer=67, texttype=5))
cell_xor2.add(gdstk.Label('Y', (131.005,16.22), layer=67, texttype=5))
cell_xor2.add(gdstk.Label('VGND', (95.95,15.11), layer=67, texttype=5))
cell_xor2.add(gdstk.Label('VPWR', (103.005,15.065), layer=67, texttype=5))
cell_xor2.add(gdstk.Label('VPWR', (103.225,16.22), layer=67, texttype=5))
cell_xor2.add(gdstk.Label('VPWR', (46.565,15.065), layer=67, texttype=5))
cell_xor2.add(gdstk.Label('VGND', (110.06,15.11), layer=67, texttype=5))
cell_xor2.add(gdstk.Label('N3__N1', (109.84,16.22), layer=67, texttype=5))
cell_xor2.add(gdstk.Label('VGND', (138.5,16.22), layer=67, texttype=5))
cell_xor2.add(gdstk.Label('VPWR', (117.115,15.065), layer=67, texttype=5))
cell_xor2.add(gdstk.Label('VPWR', (46.785,16.22), layer=67, texttype=5))
cell_xor2.add(gdstk.Label('Y', (116.895,16.22), layer=67, texttype=5))
cell_xor2.add(gdstk.Label('B', (88.895,16.865), layer=67, texttype=5))
cell_xor2.add(gdstk.Label('VPWR', (117.335,16.22), layer=67, texttype=5))
cell_xor2.add(gdstk.Label('N2', (117.115,16.865), layer=67, texttype=5))
cell_xor2.add(gdstk.Label('VGND', (124.17,15.11), layer=67, texttype=5))
cell_xor2.add(gdstk.Label('Y', (23.8,29.04), layer=71, texttype=5))
cell_xor2.add(gdstk.Label('VPWR', (22.6,10.3), layer=71, texttype=5))
cell_xor2.add(gdstk.Label('VGND', (21.4,11.8), layer=71, texttype=5))
cell_xor2.add(gdstk.Label('B', (11.8,24.24), layer=71, texttype=5))
cell_xor2.add(gdstk.Label('A', (10.6,21.84), layer=71, texttype=5))

lib.write_gds('cell_xor2.gds')
